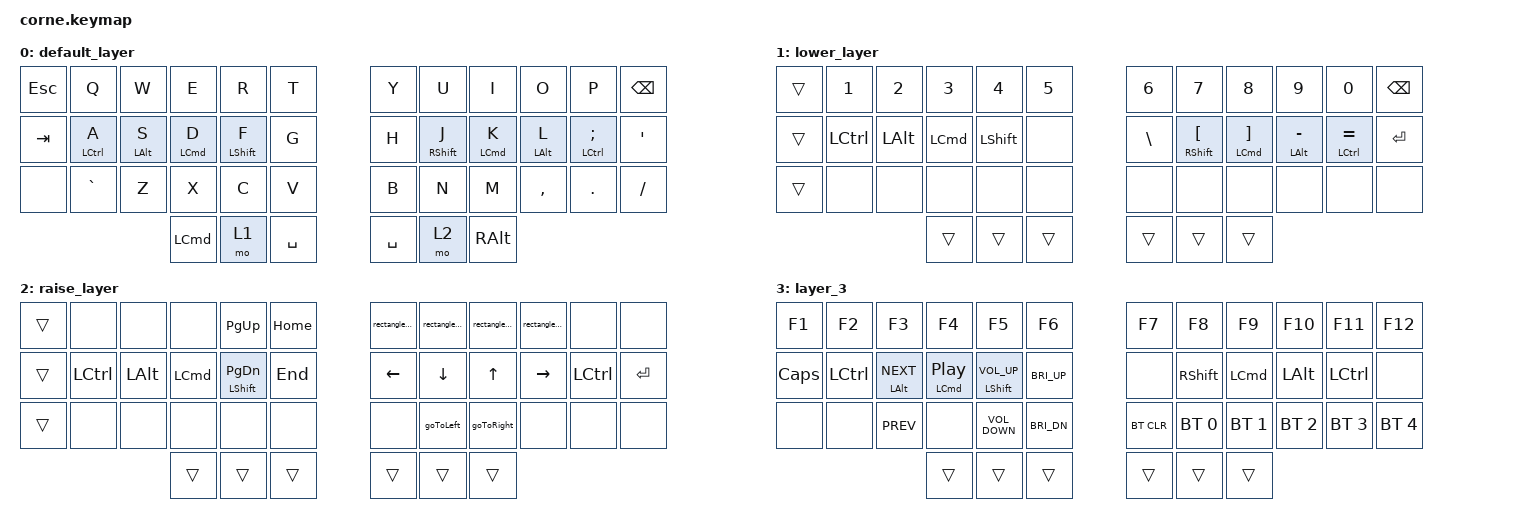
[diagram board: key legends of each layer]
/*
 * Copyright (c) 2020 The ZMK Contributors
 *
 * SPDX-License-Identifier: MIT
 */

#include <behaviors.dtsi>
#include <dt-bindings/zmk/bt.h>
#include <dt-bindings/zmk/keys.h>

/ {
    combos { compatible = "zmk,combos"; };

    behaviors {
        ss_hs_modmorph: ss_hs_modmorph {
            compatible = "zmk,behavior-mod-morph";
            label = "SS_HS_MODMORPH";
            bindings = <&kp M>, <&kp RIGHT_BRACKET>;

            #binding-cells = <0>;
            mods = <(MOD_LSFT|MOD_RSFT)>;
        };

        kh_hs_tapdance: kh_hs_tapdance {
            compatible = "zmk,behavior-tap-dance";
            label = "KH_HS_TAPDANCE";
            #binding-cells = <0>;
            tapping-term-ms = <200>;
            bindings = <&kp LEFT_BRACKET>, <&kp RIGHT_BRACKET>;
        };

        hrm: hrm {
            compatible = "zmk,behavior-hold-tap";
            #binding-cells = <2>;
            flavor = "balanced";
            tapping-term-ms = <280>;
            quick-tap-ms = <175>;
            require-prior-idle-ms = <150>;
            bindings = <&kp>, <&kp>;
        };
    };

    macros {
        rectangleToLeftSide: rectangleToLeftSide {
            compatible = "zmk,behavior-macro";
            #binding-cells = <0>;
            bindings =
                <&macro_press>,
                <&kp LCTRL &kp LCMD>,
                <&macro_tap>,
                <&kp LEFT_ARROW>,
                <&macro_release>,
                <&kp LCTRL &kp LCMD>;

            label = "rectangleToLeftSide";
        };

        rectangleToRightSide: rectangleToRightSide {
            compatible = "zmk,behavior-macro";
            #binding-cells = <0>;
            bindings =
                <&macro_press>,
                <&kp LCTRL &kp LCMD>,
                <&macro_tap>,
                <&kp RIGHT>,
                <&macro_release>,
                <&kp LCTRL &kp LCMD>;

            label = "RECTANGLETORIGHTSIDE";
        };

        rectangleCenter: rectangleCenter {
            compatible = "zmk,behavior-macro";
            #binding-cells = <0>;
            bindings =
                <&macro_press>,
                <&kp LCTRL &kp LCMD>,
                <&macro_tap>,
                <&kp C>,
                <&macro_release>,
                <&kp LCTRL &kp LCMD>;

            label = "RECTANGLECENTER";
        };

        rectangleFullScreen: rectangleFullScreen {
            compatible = "zmk,behavior-macro";
            #binding-cells = <0>;
            bindings =
                <&macro_press>,
                <&kp LCTRL &kp LCMD>,
                <&macro_tap>,
                <&kp F>,
                <&macro_release>,
                <&kp LCTRL &kp LCMD>;

            label = "RECTANGLEFULLSCREEN";
        };

        goToLeft: goToLeft {
            compatible = "zmk,behavior-macro";
            #binding-cells = <0>;
            bindings =
                <&macro_press>,
                <&kp LCTRL>,
                <&macro_tap>,
                <&kp LEFT_ARROW>,
                <&macro_release>,
                <&kp LCTRL>;

            label = "GOTOLEFT";
        };

        goToRight: goToRight {
            compatible = "zmk,behavior-macro";
            #binding-cells = <0>;
            bindings =
                <&macro_press>,
                <&kp LCTRL>,
                <&macro_tap>,
                <&kp RIGHT_ARROW>,
                <&macro_release>,
                <&kp LCTRL>;

            label = "GOTORIGHT";
        };
    };

    keymap {
        compatible = "zmk,keymap";

        default_layer {
            // -----------------------------------------------------------------------------------------
            // |  TAB |  Q  |  W  |  E  |  R  |  T  |   |  Y  |  U   |  I  |  O  |  P  | BKSP |
            // | CTRL |  A  |  S  |  D  |  F  |  G  |   |  H  |  J   |  K  |  L  |  ;  |  '   |
            // | SHFT |  Z  |  X  |  C  |  V  |  B  |   |  N  |  M   |  ,  |  .  |  /  | ESC  |
            //                    | GUI | LWR | SPC |   | ENT | RSE  | ALT |

            bindings = <
&kp ESC  &kp Q                &kp W            &kp E        &kp R              &kp T        &kp Y      &kp U               &kp I        &kp O            &kp P            &kp BSPC
&kp TAB  &hrm LEFT_CONTROL A  &hrm LEFT_ALT S  &hrm LCMD D  &hrm LEFT_SHIFT F  &kp G        &kp H      &hrm RIGHT_SHIFT J  &hrm LCMD K  &hrm LEFT_ALT L  &hrm LCTRL SEMI  &kp SQT
&none    &kp GRAVE            &kp Z            &kp X        &kp C              &kp V        &kp B      &kp N               &kp M        &kp COMMA        &kp PERIOD       &kp SLASH
                                               &kp LCMD     &mo 1              &kp SPACE    &kp SPACE  &mo 2               &kp RALT
            >;
        };

        lower_layer {
            // -----------------------------------------------------------------------------------------
            // |  TAB |  1  |  2  |  3  |  4  |  5  |   |  6  |  7  |  8  |  9  |  0  | BKSP |
            // | BTCLR| BT1 | BT2 | BT3 | BT4 | BT5 |   | LFT | DWN |  UP | RGT |     |      |
            // | SHFT |     |     |     |     |     |   |     |     |     |     |     |      |
            //                    | GUI |     | SPC |   | ENT |     | ALT |

            bindings = <
&trans  &kp N1     &kp N2        &kp N3    &kp N4          &kp N5    &kp N6         &kp N7                         &kp N8                   &kp N9               &kp N0            &kp BSPC
&trans  &kp LCTRL  &kp LEFT_ALT  &kp LCMD  &kp LEFT_SHIFT  &none     &kp BACKSLASH  &hrm RIGHT_SHIFT LEFT_BRACKET  &hrm LCMD RIGHT_BRACKET  &hrm LEFT_ALT MINUS  &hrm LCTRL EQUAL  &kp ENTER
&trans  &none      &none         &none     &none           &none     &none          &none                          &none                    &none                &none             &none
                                 &trans    &trans          &trans    &trans         &trans                         &trans
            >;
        };

        raise_layer {
            // -----------------------------------------------------------------------------------------
            // |  TAB |  !  |  @  |  #  |  $  |  %  |   |  ^  |  &  |  *  |  (  |  )  | BKSP |
            // | CTRL |     |     |     |     |     |   |  -  |  =  |  [  |  ]  |  \  |  `   |
            // | SHFT |     |     |     |     |     |   |  _  |  +  |  {  |  }  | "|" |  ~   |
            //                    | GUI |     | SPC |   | ENT |     | ALT |

            bindings = <
&trans  &none      &none         &none     &kp PG_UP                  &kp HOME    &rectangleToLeftSide  &rectangleCenter  &rectangleFullScreen  &rectangleToRightSide  &none      &none
&trans  &kp LCTRL  &kp LEFT_ALT  &kp LCMD  &hrm LEFT_SHIFT PAGE_DOWN  &kp END     &kp LEFT_ARROW        &kp DOWN_ARROW    &kp UP_ARROW          &kp RIGHT              &kp LCTRL  &kp ENTER
&trans  &none      &none         &none     &none                      &none       &none                 &goToLeft         &goToRight            &none                  &none      &none
                                 &trans    &trans                     &trans      &trans                &trans            &trans
            >;
        };

        layer_3 {
            bindings = <
&kp F1        &kp F2     &kp F3                &kp F4                  &kp F5                       &kp F6          &kp F7      &kp F8           &kp F9        &kp F10       &kp F11       &kp F12
&kp CAPSLOCK  &kp LCTRL  &hrm LEFT_ALT C_NEXT  &hrm LCMD C_PLAY_PAUSE  &hrm LEFT_SHIFT C_VOLUME_UP  &kp C_BRI_UP    &none       &kp RIGHT_SHIFT  &kp LCMD      &kp LEFT_ALT  &kp LCTRL     &none
&none         &none      &kp C_PREV            &none                   &kp C_VOLUME_DOWN            &kp C_BRI_DN    &bt BT_CLR  &bt BT_SEL 0     &bt BT_SEL 1  &bt BT_SEL 2  &bt BT_SEL 3  &bt BT_SEL 4
                                               &trans                  &trans                       &trans          &trans      &trans           &trans
            >;
        };
    };

    conditional_layers {
        compatible = "zmk,conditional-layers";

        thirdLayer {
            if-layers = <1 2>;
            then-layer = <3>;
        };
    };
};
